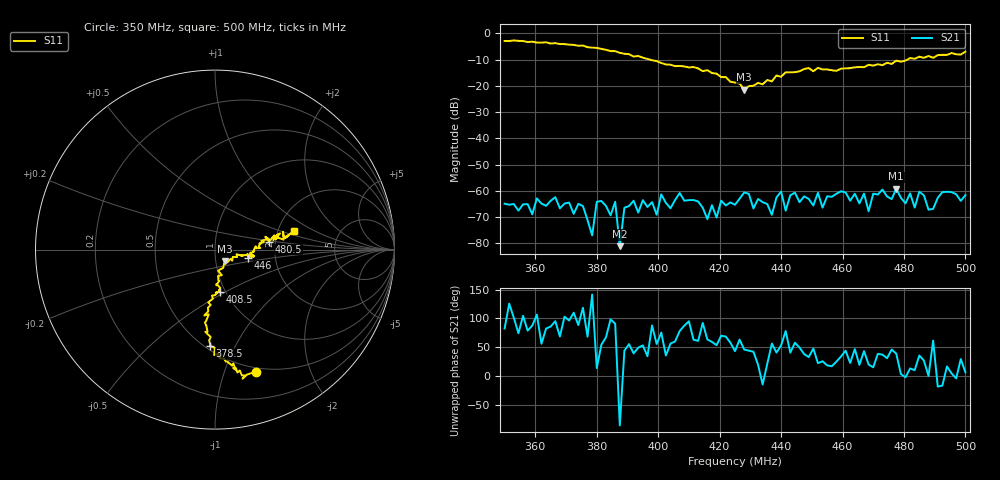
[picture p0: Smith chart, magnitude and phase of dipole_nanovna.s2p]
# HZ S RI R 50
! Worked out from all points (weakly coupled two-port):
!   101 points, 350 MHz to 500 MHz, reference 50 ohm
!   highest |S21| = -59.16 dB at 477.5 MHz (marker M1); lowest = -81.0 dB at 387.5 MHz (marker M2)
!   lowest |S11| = -21.4 dB at 428 MHz (marker M3), VSWR 1.19, Z = 55.2 - j7.35 ohm
!   |S11| at or under -10 dB: 397.4 MHz to 481 MHz (83.63 MHz wide, 19 % of centre)
!   S12 and S22 are empty: the file has one direction only
!   S11 on the Smith chart (normalised r, x): 350 MHz: 0.46, -1.29; 378.5 MHz: 0.53, -0.80; 408.5 MHz: 0.94, -0.47; 446 MHz: 1.45, -0.13; 480.5 MHz: 1.85, +0.18; 500 MHz: 2.44, +0.63
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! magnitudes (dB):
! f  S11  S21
! 350 MHz  -2.9  -64.9
! 375.5 MHz  -4.6  -65.8
! 378.5 MHz  -5.4  -76.9
! 380 MHz  -5.5  -64.1
! 386 MHz  -6.8  -64.1
! 387.5 MHz  -7.4  -81.0
! 389 MHz  -7.8  -66.4
! 399.5 MHz  -10.6  -69.1
! 401 MHz  -11.3  -61.3
! 408.5 MHz  -12.6  -63.7
! 416 MHz  -14.0  -70.7
! 425 MHz  -18.7  -65.3
! 428 MHz  -21.4  -60.6
! 437 MHz  -18.2  -69.1
! 440 MHz  -16.5  -60.2
! 441.5 MHz  -14.8  -67.5
! 446 MHz  -14.4  -64.3
! 450.5 MHz  -14.4  -65.5
! 476 MHz  -11.6  -63.1
! 477.5 MHz  -10.4  -59.2
! 480.5 MHz  -10.3  -64.7
! 500 MHz  -6.9  -61.6
